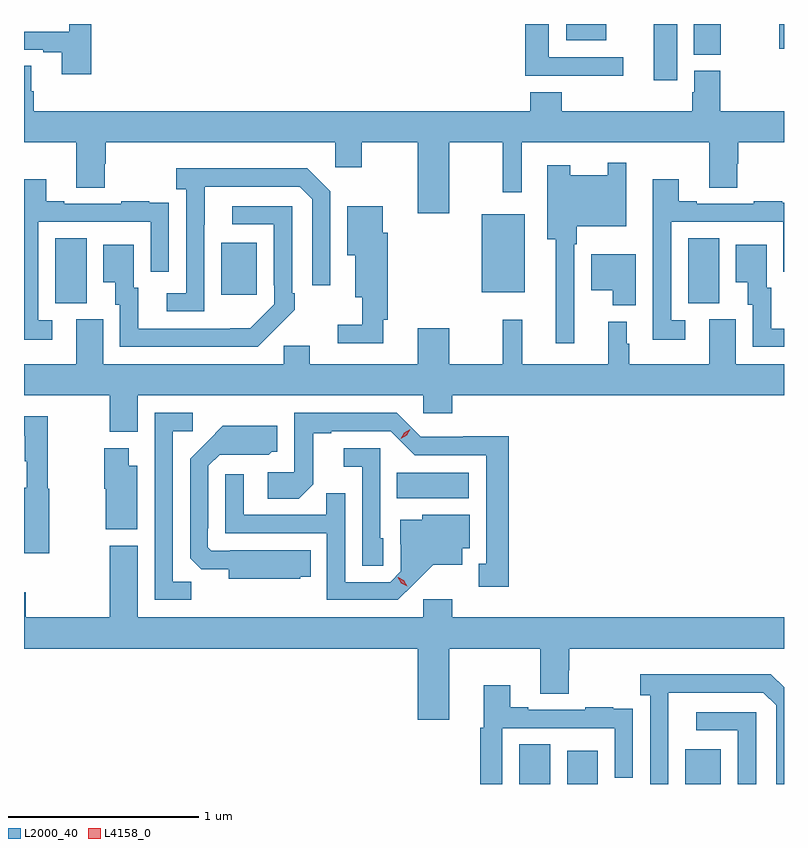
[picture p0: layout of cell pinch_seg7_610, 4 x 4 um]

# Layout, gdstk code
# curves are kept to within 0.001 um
import gdstk
lib = gdstk.Library(unit=1e-6, precision=1e-09)
def R(c, l, rs):  # rectangles x0, y0, x1, y1
    for r in rs: c.add(gdstk.rectangle(r[:2], r[2:], *l))
def P(c, l, *ps):  # polygons
    for p in ps: c.add(gdstk.Polygon(p, *l))
L2000_40 = (2000, 40)
L4158_0 = (4158, 0)

pinch_seg7_610 = lib.new_cell('pinch_seg7_610')
R(pinch_seg7_610, L2000_40, [(129.578,1009.227,129.742,1009.436), (129.83,1009.227,129.991,1009.402), (130.451,1009.227,130.639,1009.411), (128.932,1010.732,129.313,1010.866), (127.136,1011.757,127.3,1012.1), (130.466,1011.757,130.63,1012.1), (128.009,1011.801,128.197,1012.075), (129.38,1011.815,129.607,1012.225), (130.286,1012.932,130.408,1013.227), (130.496,1013.065,130.638,1013.227), (130.945,1013.096,130.971,1013.227), (129.824,1013.141,130.036,1013.227)])
P(pinch_seg7_610, L2000_40, [(127.325,1013.227),(127.209,1013.227),(127.209,1013.187),(126.971,1013.187),(126.971,1013.091),(127.073,1013.091),(127.073,1013.079),(127.169,1013.079),(127.169,1012.962),(127.325,1012.962)],
  [(130.126,1013.052),(129.733,1013.052),(129.733,1013.227),(129.608,1013.227),(129.608,1012.955),(130.126,1012.955)],
  [(129.208,1012.604),(129.49,1012.604),(129.49,1012.341),(129.592,1012.341),(129.592,1012.604),(130.577,1012.604),(130.577,1012.366),(130.725,1012.366),(130.725,1012.491),(130.73,1012.491),(130.73,1012.604),(130.971,1012.604),(130.971,1012.768),(130.635,1012.768),(130.635,1012.98),(130.499,1012.98),(130.499,1012.869),(130.487,1012.869),(130.487,1012.768),(129.8,1012.768),(129.8,1012.867),(129.635,1012.867),(129.635,1012.768),(127.022,1012.768),(127.022,1012.874),(127.009,1012.874),(127.009,1013.006),(126.971,1013.006),(126.971,1012.604),(127.247,1012.604),(127.247,1012.366),(127.395,1012.366),(127.395,1012.491),(127.4,1012.491),(127.4,1012.604),(128.61,1012.604),(128.61,1012.473),(128.749,1012.473),(128.749,1012.604),(129.044,1012.604),(129.044,1012.23),(129.208,1012.23)],
  [(129.867,1012.067),(129.88,1012.067),(129.88,1012.163),(130.14,1012.163),(130.14,1012.498),(130.043,1012.498),(130.043,1012.432),(129.847,1012.432),(129.847,1012.483),(129.725,1012.483),(129.725,1012.094),(129.77,1012.094),(129.77,1011.546),(129.867,1011.546)],
  [(127.92,1012.171),(127.921,1012.371),(128.421,1012.371),(128.487,1012.305),(128.487,1011.852),(128.583,1011.852),(128.583,1012.347),(128.462,1012.468),(127.773,1012.468),(127.773,1012.358),(127.824,1012.358),(127.824,1011.81),(127.722,1011.81),(127.722,1011.714),(127.92,1011.714)],
  [(130.45,1011.669),(130.377,1011.669),(130.377,1012.185),(130.968,1012.185),(130.968,1011.924),(130.971,1011.924),(130.971,1012.287),(130.961,1012.287),(130.961,1012.294),(130.813,1012.294),(130.813,1012.281),(130.513,1012.281),(130.513,1012.294),(130.417,1012.294),(130.417,1012.411),(130.28,1012.411),(130.28,1012.188),(130.281,1012.188),(130.281,1011.564),(130.45,1011.564)],
  [(127.12,1011.669),(127.047,1011.669),(127.047,1012.185),(127.638,1012.185),(127.638,1011.924),(127.734,1011.924),(127.734,1012.178),(127.733,1012.178),(127.733,1012.287),(127.631,1012.287),(127.631,1012.294),(127.483,1012.294),(127.483,1012.281),(127.183,1012.281),(127.183,1012.294),(127.087,1012.294),(127.087,1012.411),(126.971,1012.411),(126.971,1011.564),(127.12,1011.564)],
  [(128.291,1011.619),(128.292,1011.618),(128.397,1011.723),(128.397,1011.811),(128.382,1011.811),(128.382,1012.269),(128.067,1012.269),(128.067,1012.173),(128.286,1012.173),(128.286,1011.853),(128.289,1011.853),(128.289,1011.753),(128.161,1011.625),(127.573,1011.624),(127.573,1011.84),(127.549,1011.84),(127.549,1012.066),(127.388,1012.066),(127.388,1011.869),(127.451,1011.869),(127.451,1011.75),(127.476,1011.75),(127.476,1011.528),(128.2,1011.528)],
  [(128.861,1011.671),(128.885,1011.671),(128.885,1012.128),(128.86,1012.128),(128.86,1012.267),(128.672,1012.267),(128.672,1012.01),(128.714,1012.01),(128.714,1011.788),(128.751,1011.788),(128.751,1011.643),(128.622,1011.643),(128.622,1011.546),(128.861,1011.546)],
  [(130.971,1011.624),(130.903,1011.624),(130.903,1011.84),(130.879,1011.84),(130.879,1012.066),(130.718,1012.066),(130.718,1011.869),(130.781,1011.869),(130.781,1011.75),(130.806,1011.75),(130.806,1011.528),(130.971,1011.528)],
  [(130.192,1012.015),(129.956,1012.015),(129.956,1011.827),(130.07,1011.827),(130.07,1011.746),(130.192,1011.746)],
  [(127.57,1011.272),(129.072,1011.272),(129.072,1011.179),(129.224,1011.179),(129.224,1011.272),(130.971,1011.272),(130.971,1011.436),(130.717,1011.436),(130.717,1011.672),(130.577,1011.672),(130.577,1011.436),(130.156,1011.436),(130.156,1011.543),(130.144,1011.543),(130.144,1011.661),(130.046,1011.661),(130.046,1011.436),(129.593,1011.436),(129.593,1011.67),(129.49,1011.67),(129.49,1011.436),(129.208,1011.436),(129.208,1011.625),(129.044,1011.625),(129.044,1011.436),(128.476,1011.436),(128.476,1011.534),(128.337,1011.534),(128.337,1011.436),(127.387,1011.436),(127.387,1011.672),(127.247,1011.672),(127.247,1011.436),(126.971,1011.436),(126.971,1011.272),(127.423,1011.272),(127.423,1011.08),(127.57,1011.08)],
  [(127.851,1010.291),(127.755,1010.291),(127.755,1011.084),(127.858,1011.084),(127.858,1011.18),(127.659,1011.18),(127.659,1010.196),(127.851,1010.196)],
  [(129.523,1011.056),(129.282,1011.056),(129.282,1011.054),(129.06,1011.054),(128.934,1011.18),(128.394,1011.18),(128.394,1010.868),(128.253,1010.868),(128.253,1010.728),(128.417,1010.728),(128.493,1010.804),(128.493,1011.072),(128.587,1011.072),(128.587,1011.084),(128.901,1011.084),(129.027,1010.958),(129.404,1010.958),(129.404,1010.385),(129.365,1010.385),(129.365,1010.265),(129.523,1010.265)],
  [(127.104,1010.781),(127.096,1010.781),(127.096,1011.162),(126.971,1011.162),(126.971,1011.061),(126.975,1011.061),(126.975,1010.925),(126.986,1010.925),(126.986,1010.785),(126.971,1010.785),(126.971,1010.441),(127.104,1010.441)],
  [(128.424,1010.318),(128.48,1010.318),(128.48,1010.458),(128.056,1010.458),(128.056,1010.454),(127.956,1010.454),(127.938,1010.472),(127.938,1010.572),(127.941,1010.572),(127.941,1010.901),(128.001,1010.961),(128.258,1010.96),(128.274,1010.976),(128.305,1010.976),(128.305,1011.112),(128.017,1011.112),(127.845,1010.938),(127.845,1010.416),(127.904,1010.357),(128.048,1010.357),(128.048,1010.306),(128.424,1010.306)],
  [(127.567,1010.902),(127.522,1010.902),(127.522,1010.995),(127.393,1010.995),(127.393,1010.781),(127.4,1010.781),(127.4,1010.567),(127.567,1010.567)],
  [(128.862,1010.52),(128.847,1010.52),(128.847,1010.994),(128.655,1010.994),(128.655,1010.897),(128.751,1010.897),(128.751,1010.377),(128.862,1010.377)],
  [(129.022,1010.279),(129.125,1010.381),(129.277,1010.381),(129.277,1010.468),(129.316,1010.468),(129.316,1010.644),(129.066,1010.644),(129.066,1010.617),(128.951,1010.617),(128.951,1010.488),(128.955,1010.488),(128.955,1010.346),(128.898,1010.289),(128.661,1010.289),(128.661,1010.756),(128.563,1010.756),(128.563,1010.643),(128.127,1010.643),(128.127,1010.857),(128.031,1010.857),(128.031,1010.547),(128.565,1010.547),(128.565,1010.196),(128.938,1010.196)],
  [(129.208,1009.94),(129.689,1009.94),(129.689,1009.702),(129.837,1009.702),(129.837,1009.827),(129.842,1009.827),(129.842,1009.94),(130.971,1009.94),(130.971,1010.104),(129.224,1010.104),(129.224,1010.2),(129.072,1010.2),(129.072,1010.104),(127.57,1010.104),(127.57,1010.482),(127.423,1010.482),(127.423,1010.104),(126.981,1010.104),(126.981,1010.236),(126.971,1010.236),(126.971,1009.94),(129.044,1009.94),(129.044,1009.566),(129.208,1009.566)],
  [(130.362,1009.507),(130.363,1009.707),(130.863,1009.707),(130.929,1009.641),(130.929,1009.227),(130.971,1009.227),(130.971,1009.735),(130.902,1009.804),(130.215,1009.804),(130.215,1009.694),(130.266,1009.694),(130.266,1009.227),(130.362,1009.227)],
  [(129.489,1009.521),(130.08,1009.521),(130.08,1009.26),(130.176,1009.26),(130.176,1009.514),(130.175,1009.514),(130.175,1009.623),(130.073,1009.623),(130.073,1009.63),(129.925,1009.63),(129.925,1009.617),(129.625,1009.617),(129.625,1009.63),(129.529,1009.63),(129.529,1009.747),(129.392,1009.747),(129.392,1009.524),(129.373,1009.524),(129.373,1009.227),(129.489,1009.227)],
  [(130.824,1009.605),(130.509,1009.605),(130.509,1009.509),(130.728,1009.509),(130.728,1009.227),(130.824,1009.227)])
P(pinch_seg7_610, L4158_0, [(128.954,1011.044),(128.954,1011.044),(128.972,1011.077),(129.004,1011.095),(129.004,1011.095),(129.004,1011.095),(128.986,1011.063),(128.954,1011.044)],
  [(128.988,1010.269),(128.957,1010.284),(128.939,1010.314),(128.939,1010.314),(128.94,1010.314),(128.97,1010.299),(128.988,1010.269),(128.988,1010.269)])

lib.write_gds('pinch_seg7_610.gds')
